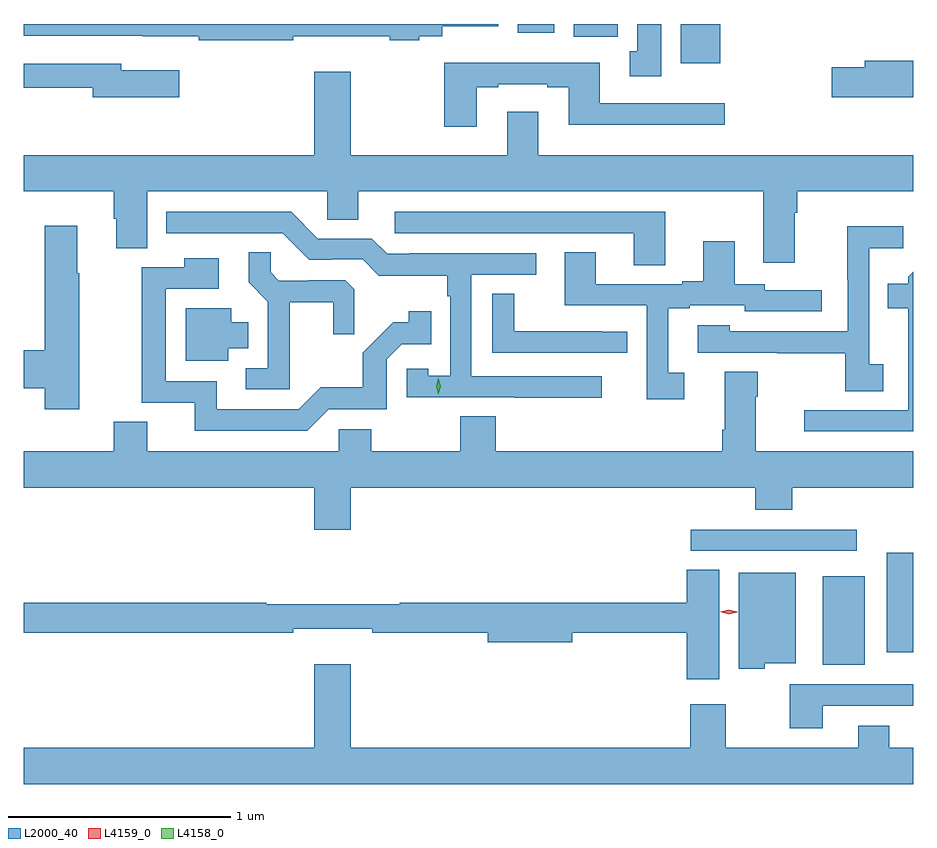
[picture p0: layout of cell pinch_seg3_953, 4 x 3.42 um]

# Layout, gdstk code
import gdstk
lib = gdstk.Library(unit=1e-6, precision=1e-09)
def R(c, l, rs):  # rectangles x0, y0, x1, y1
    for r in rs: c.add(gdstk.rectangle(r[:2], r[2:], *l))
def P(c, l, *ps):  # polygons
    for p in ps: c.add(gdstk.Polygon(p, *l))
L2000_40 = (2000, 40)
L4158_0 = (4158, 0)
L4159_0 = (4159, 0)

pinch_seg3_953 = lib.new_cell('pinch_seg3_953')
R(pinch_seg3_953, L2000_40, [(478.982,709.445,479.17,709.843), (479.27,709.5,479.389,709.948), (478.389,709.956,479.134,710.052), (478.343,712.148,478.522,712.325), (477.863,712.268,478.06,712.325), (477.611,712.286,477.775,712.325)])
P(pinch_seg3_953, L2000_40, [(476.6,712.271),(477.036,712.271),(477.036,712.252),(477.167,712.252),(477.167,712.271),(477.271,712.271),(477.271,712.316),(477.523,712.316),(477.523,712.325),(475.389,712.325),(475.389,712.272),(475.924,712.272),(475.924,712.271),(476.176,712.271),(476.176,712.252),(476.6,712.252)],
  [(478.255,712.325),(478.148,712.325),(478.148,712.202),(478.115,712.202),(478.115,712.089),(478.255,712.089)],
  [(479.389,712.16),(479.171,712.16),(479.171,712.13),(479.022,712.13),(479.022,711.995),(479.389,711.995)],
  [(477.427,712.041),(477.523,712.041),(477.523,712.053),(477.743,712.053),(477.743,712.041),(477.839,712.041),(477.839,711.872),(478.54,711.872),(478.54,711.969),(477.979,711.969),(477.979,712.15),(477.28,712.15),(477.28,711.864),(477.427,711.864)],
  [(476.089,712.117),(475.828,712.117),(475.828,712.146),(475.389,712.146),(475.389,712.038),(475.7,712.038),(475.7,711.995),(476.089,711.995)],
  [(477.563,711.931),(477.563,711.736),(476.86,711.736),(476.86,712.111),(476.696,712.111),(476.696,711.736),(475.389,711.736),(475.389,711.572),(475.793,711.572),(475.793,711.45),(475.805,711.45),(475.805,711.316),(475.945,711.316),(475.945,711.572),(476.754,711.572),(476.754,711.445),(476.893,711.445),(476.893,711.572),(478.715,711.572),(478.715,711.252),(478.855,711.252),(478.855,711.476),(478.868,711.476),(478.868,711.572),(479.389,711.572),(479.389,711.736),(477.703,711.736),(477.703,711.931)],
  [(477.988,710.742),(477.402,710.742),(477.402,711.198),(477.694,711.198),(477.694,711.294),(477.124,711.294),(477.124,711.291),(477.024,711.291),(476.955,711.36),(476.712,711.36),(476.592,711.48),(476.03,711.48),(476.03,711.384),(476.553,711.384),(476.673,711.264),(476.774,711.264),(476.774,711.267),(476.913,711.267),(476.986,711.194),(477.294,711.194),(477.294,711.101),(477.306,711.101),(477.306,710.743),(477.207,710.743),(477.207,710.775),(477.111,710.775),(477.111,710.646),(477.595,710.646),(477.595,710.644),(477.988,710.644)],
  [(478.273,711.48),(477.057,711.48),(477.057,711.384),(478.133,711.384),(478.133,711.241),(478.273,711.241)],
  [(475.638,711.205),(475.63,711.205),(475.63,711.418),(475.484,711.418),(475.484,710.858),(475.389,710.858),(475.389,710.687),(475.484,710.687),(475.484,710.592),(475.638,710.592)],
  [(479.254,710.796),(479.19,710.796),(479.19,711.317),(479.344,711.317),(479.344,711.415),(479.092,711.415),(479.092,711.176),(479.094,711.176),(479.094,710.943),(478.563,710.943),(478.563,710.971),(478.419,710.971),(478.419,710.847),(478.777,710.847),(478.777,710.845),(479.082,710.845),(479.082,710.674),(479.254,710.674)],
  [(478.36,710.757),(478.288,710.757),(478.288,711.048),(478.384,711.048),(478.384,711.06),(478.632,711.06),(478.632,711.033),(478.978,711.033),(478.978,711.129),(478.722,711.129),(478.722,711.156),(478.585,711.156),(478.585,711.349),(478.445,711.349),(478.445,711.169),(478.349,711.169),(478.349,711.156),(477.961,711.156),(477.961,711.299),(477.821,711.299),(477.821,711.06),(478.191,711.06),(478.191,710.637),(478.36,710.637)],
  [(476.585,711.074),(476.782,711.074),(476.782,710.931),(476.876,710.931),(476.876,711.133),(476.835,711.174),(476.67,711.174),(476.67,711.171),(476.536,711.171),(476.499,711.208),(476.499,711.299),(476.401,711.299),(476.401,711.163),(476.487,711.077),(476.487,710.778),(476.388,710.778),(476.388,710.682),(476.585,710.682)],
  [(476.76,710.592),(477.021,710.592),(477.021,710.817),(477.09,710.886),(477.221,710.886),(477.221,711.034),(477.12,711.034),(477.12,710.984),(477.05,710.984),(476.913,710.846),(476.913,710.691),(476.724,710.691),(476.625,710.592),(476.257,710.592),(476.257,710.718),(476.028,710.718),(476.028,711.135),(476.266,711.135),(476.266,711.271),(476.11,711.271),(476.11,711.231),(475.92,711.231),(475.92,710.622),(476.159,710.622),(476.159,710.496),(476.664,710.496)],
  [(479.389,711.211),(479.367,711.189),(479.367,711.157),(479.275,711.157),(479.275,711.048),(479.366,711.048),(479.366,710.589),(478.899,710.589),(478.899,710.493),(479.389,710.493)],
  [(478.102,710.942),(477.989,710.942),(477.989,710.943),(477.594,710.943),(477.594,711.113),(477.495,711.113),(477.495,710.847),(478.102,710.847)],
  [(476.308,710.867),(476.398,710.867),(476.398,710.983),(476.323,710.983),(476.323,711.046),(476.117,711.046),(476.117,710.81),(476.308,710.81)],
  [(476.86,710.24),(478.679,710.24),(478.679,710.141),(478.844,710.141),(478.844,710.24),(479.389,710.24),(479.389,710.404),(478.681,710.404),(478.681,710.648),(478.689,710.648),(478.689,710.761),(478.541,710.761),(478.541,710.5),(478.529,710.5),(478.529,710.404),(477.512,710.404),(477.512,710.561),(477.352,710.561),(477.352,710.404),(476.952,710.404),(476.952,710.502),(476.805,710.502),(476.805,710.404),(475.945,710.404),(475.945,710.537),(475.793,710.537),(475.793,710.404),(475.389,710.404),(475.389,710.24),(476.696,710.24),(476.696,710.052),(476.86,710.052)],
  [(478.516,709.871),(478.37,709.871),(478.37,709.724),(477.08,709.724),(477.08,709.717),(476.48,709.717),(476.48,709.724),(475.389,709.724),(475.389,709.588),(476.6,709.588),(476.6,709.607),(476.956,709.607),(476.956,709.588),(477.476,709.588),(477.476,709.546),(477.856,709.546),(477.856,709.588),(478.37,709.588),(478.37,709.38),(478.516,709.38)],
  [(478.722,709.451),(478.861,709.451),(478.861,709.858),(478.604,709.858),(478.604,709.427),(478.722,709.427)],
  [(479.389,709.072),(479.281,709.072),(479.281,709.171),(479.141,709.171),(479.141,709.072),(478.545,709.072),(478.545,709.267),(478.385,709.267),(478.385,709.072),(476.86,709.072),(476.86,709.447),(476.696,709.447),(476.696,709.072),(475.389,709.072),(475.389,708.908),(479.389,708.908)],
  [(478.981,709.26),(479.389,709.26),(479.389,709.356),(478.834,709.356),(478.834,709.158),(478.981,709.158)])
P(pinch_seg3_953, L4158_0, [(477.254,710.661),(477.254,710.661),(477.244,710.697),(477.254,710.733),(477.254,710.733),(477.254,710.733),(477.264,710.697),(477.254,710.661)])
P(pinch_seg3_953, L4159_0, [(478.559,709.672),(478.522,709.682),(478.522,709.682),(478.522,709.683),(478.559,709.692),(478.597,709.682),(478.597,709.681),(478.597,709.681)])

lib.write_gds('pinch_seg3_953.gds')
